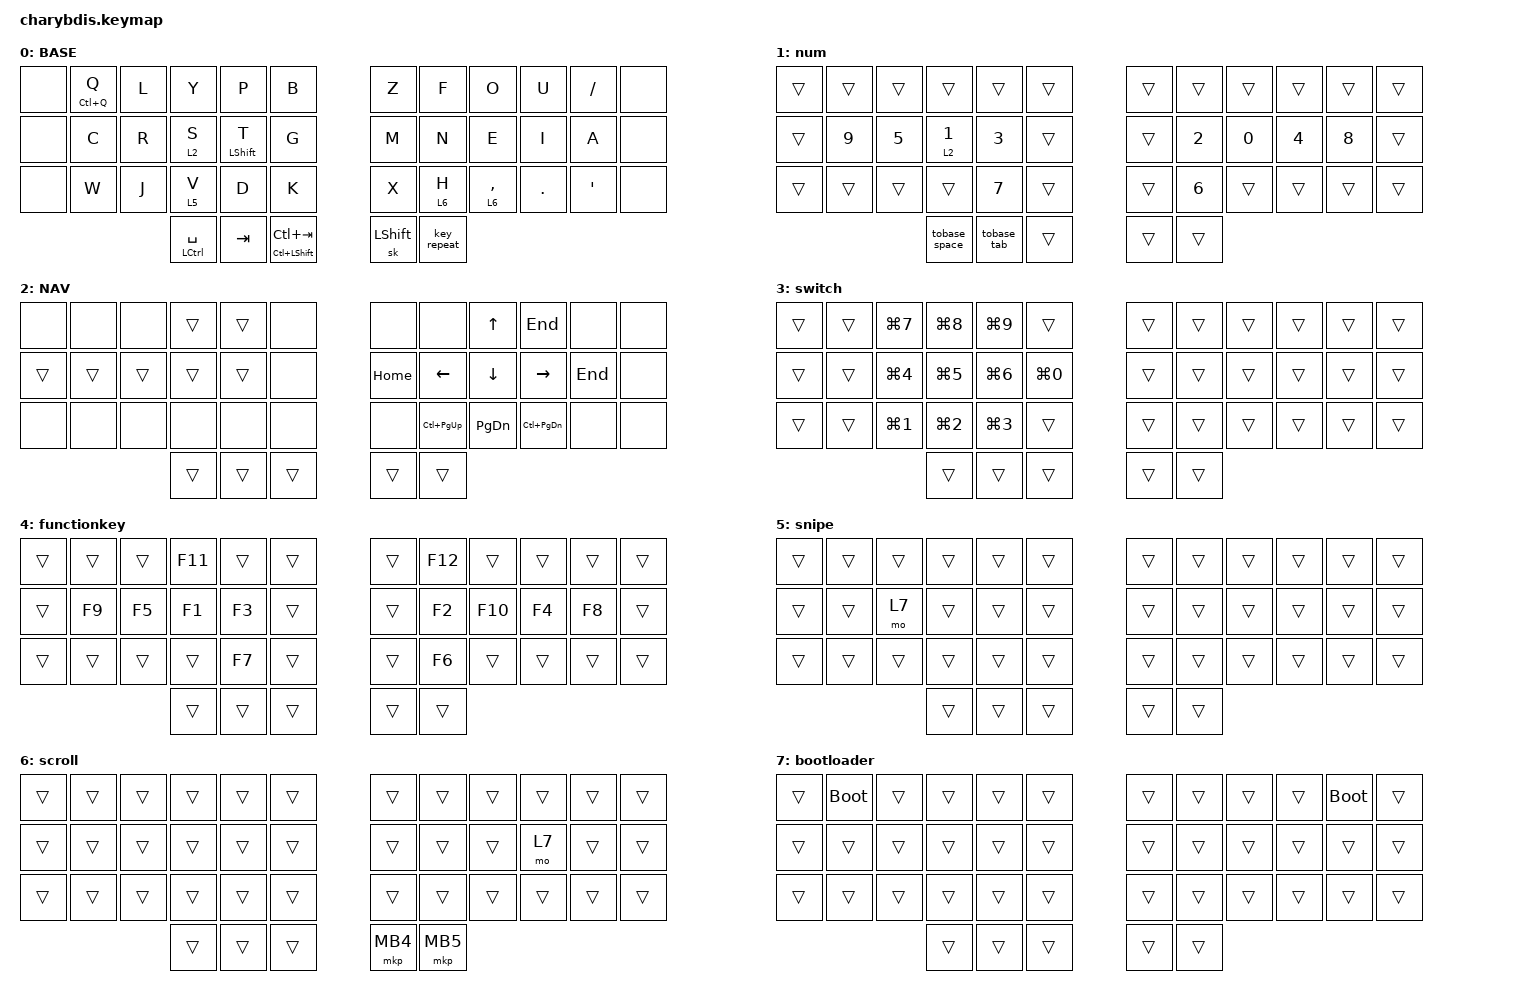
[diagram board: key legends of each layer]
#include <dt-bindings/zmk/mouse.h>
#include <behaviors/mouse_keys.dtsi>
#include <behaviors.dtsi>
#include <dt-bindings/zmk/bt.h>
#include <dt-bindings/zmk/keys.h>
#include <dt-bindings/zmk/pointing.h>

&sk { quick-release; };

&lt {
    require-prior-idle-ms = <150>;
    tapping-term-ms = <280>;
    quick-tap-ms = <175>;
    hold-trigger-on-release;
    flavor = "balanced";
};

&mt {
    flavor = "balanced";
    require-prior-idle-ms = <175>;
    tapping-term-ms = <280>;
    quick-tap-ms = <180>;
    hold-trigger-on-release;
};

/ {
    /* input config for mouse move mode */
    // Define the base listener for the trackball device

    trackball_listener: trackball_listener {
        compatible = "zmk,input-listener";
        device = <&vtrackball>;

        // --- STANDARD MOVEMENT MODE (Layer 0, 7) ---
        // Scaling: 4/5 (0.8x speed)

        trackball_default_scaling: trackball_default_scaling {
            input-processors = <&zip_xy_scaler 4 5>;
            layers = <0 7>;
        };

        // --- SNIPE MODE (Layer 5) ---
        // Scaling: 1/6 (Very slow, 0.166x speed)

        trackball_snipe_scaling: trackball_snipe_scaling {
            input-processors = <&zip_xy_scaler 1 6>;
            layers = <5>;
        };

        // --- SCROLL MODE (Layer 2, 6) ---
        // Changes input codes to scroll, inverts Y, and scales scroll speed.

        trackball_scroll_mode: trackball_scroll_mode {
            // ZMK input-listener handles changing the X/Y codes implicitly for scroll
            // Y-axis will be inverted (for natural scrolling)

            y-invert;
            layers = <2 6>;

            // The bindings property moves here. It applies the wheel scaler processor
            // for this layer block, using a 1/14 scaling for the scroll wheel data.

            input-processors = <&zip_wheel_scaler 1 14>;
        };
    };

    // --- Input Processor Definition ---
    // Define the wheel scaler processor separately as a reusable component.

    zip_wheel_scaler: zip_wheel_scaler {
        // This processor applies custom scaling only to the wheel (scroll) axis data.

        compatible = "zmk,input-processor-wheel-scaler";
        #binding-cells = <2>;
    };

    /* adjust cooldown waiting period for mouse key layer after activated */

    ib_toggle_layer: ib_toggle_layer {
        compatible = "zmk,input-behavior-tog-layer";
        #binding-cells = <1>;
        time-to-live-ms = <750>;
    };

    behaviors {
        back_home: back_home {
            compatible = "zmk,behavior-hold-tap";
            bindings = <&althome>, <&altleft>;

            #binding-cells = <2>;
            flavor = "balanced";
            tapping-term-ms = <200>;
        };

        shift_repeat: shift_repeat {
            compatible = "zmk,behavior-hold-tap";
            bindings = <&kp>, <&key_repeat>;

            #binding-cells = <2>;
            tapping-term-ms = <200>;
            require-prior-idle-ms = <180>;
            flavor = "tap-unless-interrupted";
        };

        rightclick_appmenu: rightclick_appmenu {
            compatible = "zmk,behavior-hold-tap";
            bindings = <&kp>, <&mkp>;

            #binding-cells = <2>;
            flavor = "balanced";
            tapping-term-ms = <200>;
            require-prior-idle-ms = <180>;
        };

        num_num: num_num {
            compatible = "zmk,behavior-hold-tap";
            bindings = <&mo>, <&to>;

            #binding-cells = <2>;
            flavor = "balanced";
            tapping-term-ms = <180>;
        };

        caps_ctrl_shift: caps_ctrl_shift {
            compatible = "zmk,behavior-hold-tap";
            bindings = <&kp>, <&caps_word>;

            #binding-cells = <2>;
            tapping-term-ms = <200>;
            flavor = "balanced";
        };
    };

    combos {
        compatible = "zmk,combos";

        rparenth {
            bindings = <&mt RIGHT_BRACKET RIGHT_PARENTHESIS>;
            key-positions = <40 21>;
        };

        exclai {
            bindings = <&kp EXCL>;
            key-positions = <19 31>;
        };

        lparenth {
            bindings = <&mt LEFT_BRACKET LEFT_PARENTHESIS>;
            key-positions = <37 14>;
        };

        copy {
            bindings = <&kp LC(C)>;
            key-positions = <15 28>;
            require-prior-idle-ms = <180>;
        };

        paste {
            bindings = <&mt LCTRL LC(V)>;
            key-positions = <4 15>;
            require-prior-idle-ms = <180>;
        };

        semicolon {
            bindings = <&kp SEMICOLON>;
            key-positions = <40 22>;
        };

        resetble {
            bindings = <&bt BT_CLR_ALL>;
            key-positions = <2 3 4 7 8 9>;
        };

        underscore {
            bindings = <&kp MINUS>;
            key-positions = <31 33>;
        };

        minus {
            bindings = <&kp UNDER>;
            key-positions = <31 34>;
        };

        stickyalt {
            bindings = <&sk LEFT_ALT>;
            key-positions = <14 16 15>;
        };

        colonn {
            bindings = <&kp COLON>;
            key-positions = <40 19>;
        };

        equal {
            bindings = <&kp EQUAL>;
            key-positions = <40 31>;
        };

        value {
            bindings = <&value>;
            key-positions = <9 21>;
        };

        statementcombo {
            bindings = <&statement>;
            key-positions = <40 9>;
        };

        enterr {
            bindings = <&kp ENTER>;
            key-positions = <31 32>;
        };

        scrolh {
            bindings = <&tog 2>;
            key-positions = <19 20 21 22>;
        };

        plus {
            bindings = <&mt ASTRK PLUS>;
            key-positions = <7 19>;
        };

        insert {
            bindings = <&kp INSERT>;
            key-positions = <2 14>;
        };

        escape {
            bindings = <&kp ESCAPE>;
            key-positions = <28 27>;
        };

        redo {
            bindings = <&kp LC(Y)>;
            key-positions = <3 2>;
        };

        undo {
            bindings = <&kp LC(Z)>;
            key-positions = <3 4>;
        };

        calc_rel {
            bindings = <&mt LC(R) LC(D)>;
            key-positions = <14 3>;
            require-prior-idle-ms = <180>;
        };

        focus {
            bindings = <&kp LC(E)>;
            key-positions = <16 3>;
        };

        at {
            bindings = <&mt HASH AT>;
            key-positions = <32 21>;
        };

        window {
            bindings = <&sk LEFT_GUI>;
            key-positions = <26 27 28>;
        };

        bluetoothone {
            bindings = <&bt BT_SEL 0>;
            key-positions = <1 13>;
        };

        bluetoothtwo {
            bindings = <&bt BT_SEL 1>;
            key-positions = <10 22>;
        };

        types {
            bindings = <&altzero>;
            key-positions = <3 15>;
        };

        printscreen {
            bindings = <&kp LG(LS(S))>;
            key-positions = <7 19 8 20>;
        };

        grave {
            bindings = <&kp GRAVE>;
            key-positions = <18 6>;
        };

        question {
            bindings = <&kp QUESTION>;
            key-positions = <20 33>;
        };

        bspace {
            bindings = <&kp BACKSPACE>;
            key-positions = <32 20>;
        };

        altlefthome {
            bindings = <&back_home 0 0>;
            key-positions = <16 28>;
        };

        doublequote {
            bindings = <&kp DOUBLE_QUOTES>;
            key-positions = <21 33>;
        };

        backslash {
            bindings = <&kp BACKSLASH>;
            key-positions = <22 34>;
        };

        selectall {
            bindings = <&kp LC(A)>;
            key-positions = <31 32 33>;
        };

        newmacron {
            bindings = <&new_macro>;
            key-positions = <20 21 33 32>;
        };

        sloganize {
            bindings = <&slogan>;
            key-positions = <16 28 27 15>;
        };

        academy {
            bindings = <&repand>;
            key-positions = <15 14 26 27>;
        };

        cut {
            bindings = <&kp LC(X)>;
            key-positions = <16 13>;
        };

        altdown {
            bindings = <&kp LA(DOWN)>;
            key-positions = <4 16>;
        };

        rightclickr {
            bindings = <&rightclick_appmenu K_CONTEXT_MENU RCLK>;
            key-positions = <15 16>;
        };

        delete {
            bindings = <&kp DELETE>;
            key-positions = <17 29>;
        };

        switchwinright {
            bindings = <&switchwin>;
            key-positions = <40 19 20>;
        };

        nummo {
            bindings = <&sl 4>;
            key-positions = <40 37>;
        };

        ctrlf4 {
            bindings = <&kp LC(F4)>;
            key-positions = <2 3 4>;
        };

        eruntsc {
            bindings = <&e2eruntsc>;
            key-positions = <37 29>;
        };

        erunchrome {
            bindings = <&e2erunchrome>;
            key-positions = <40 30>;
        };

        format {
            bindings = <&kp LS(LA(F))>;
            key-positions = <28 27 31 32>;
        };

        backcomb {
            bindings = <&mkp MB4>;
            key-positions = <40 32>;
        };

        forwardcomb {
            bindings = <&mkp MB5>;
            key-positions = <40 33>;
        };

        leptclick {
            bindings = <&mkp LCLK>;
            key-positions = <15 14>;
        };

        altone2 {
            bindings = <&altone>;
            key-positions = <15 27>;
        };

        ctrlclick {
            bindings = <&ctrl_click>;
            key-positions = <26 27>;
        };

        tobase {
            bindings = <&to 0>;
            key-positions = <20 21>;
        };

        ctrlbacspac {
            bindings = <&kp LC(BACKSPACE)>;
            key-positions = <19 20 21>;
        };

        rightclickl {
            bindings = <&mkp LCLK>;
            key-positions = <32 33>;
        };

        altup {
            bindings = <&kp LA(UP_ARROW)>;
            key-positions = <5 17>;
        };

        curlyleft {
            bindings = <&kp LS(LEFT_BRACKET)>;
            key-positions = <14 15 37>;
        };

        curlyright {
            bindings = <&kp LS(RIGHT_BRACKET)>;
            key-positions = <20 21 40>;
        };

        clearformat {
            bindings = <&formatctrlspace>;
            key-positions = <28 14>;
        };

        controltab {
            bindings = <&kp LC(TAB)>;
            key-positions = <18 19>;
        };

        controlshifttab {
            bindings = <&kp LC(LS(TAB))>;
            key-positions = <16 17>;
        };

        ups {
            bindings = <&kp UP_ARROW>;
            key-positions = <6 7>;
        };

        downs {
            bindings = <&kp DOWN>;
            key-positions = <30 31>;
        };

        ctrlspace {
            bindings = <&kp LC(SPACE)>;
            key-positions = <36 37>;
        };

        tonumber {
            bindings = <&to 1>;
            key-positions = <15 20>;
        };
    };

    macros {
        switchwin: switchwin {
            compatible = "zmk,behavior-macro";
            #binding-cells = <0>;
            bindings =
                <&macro_press>,
                <&mo 3 &kp LGUI>,
                <&macro_pause_for_release>,
                <&macro_release>,
                <&mo 3 &kp LEFT_WIN>;

            label = "SWITCHWIN";
        };

        info: info {
            compatible = "zmk,behavior-macro";
            #binding-cells = <0>;
            bindings = <&kp I &kp N &kp F &kp O &kp LPAR &kp SQT &kp FSLH &kp FSLH &kp SQT &kp RPAR &kp LEFT>;
            label = "INFO";
        };

        statement: statement {
            compatible = "zmk,behavior-macro";
            #binding-cells = <0>;
            bindings = <&kp RET &kp LEFT_BRACE &kp RET &kp RBRC &kp UP_ARROW &kp ENTER>;
            label = "STATEMENT";
        };

        value: value {
            compatible = "zmk,behavior-macro";
            #binding-cells = <0>;
            bindings = <&kp LS(V) &kp LS(A) &kp LS(L) &kp LS(U) &kp LS(E) &kp LPAR &kp O &kp B &kp J &kp E &kp C &kp T>;
            label = "VALUE";
        };

        slogan: slogan {
            compatible = "zmk,behavior-macro";
            #binding-cells = <0>;
            bindings = <&kp LS(T) &kp R &kp A &kp C &kp K &kp B &kp A &kp L &kp L &kp LS(G) &kp L &kp O &kp V &kp E &kp N3 &kp N5 &kp LS(E) &kp N &kp D &kp LS(G) &kp A &kp M &kp E>;
            label = "SLOGAN";
        };

        repand: repand {
            compatible = "zmk,behavior-macro";
            #binding-cells = <0>;
            bindings = <&kp LS(S) &kp Y &kp N &kp C &kp H &kp R &kp O &kp N &kp I &kp Z &kp E &kp U &kp P &kp G &kp R &kp A &kp D &kp E &kp A &kp B &kp I &kp L &kp I &kp T &kp Y &kp DLLR &kp PRCNT &kp CARET &kp PLUS>;
            label = "REPAND";
        };

        altone: altone {
            compatible = "zmk,behavior-macro";
            #binding-cells = <0>;
            bindings = <&sk LEFT_ALT &kp NUMBER_1>;
            label = "ALTONE";
        };

        altzero: altzero {
            compatible = "zmk,behavior-macro";
            #binding-cells = <0>;
            bindings = <&sk LEFT_ALT &kp NUMBER_0>;
            label = "ALTZERO";
        };

        alta: alta {
            compatible = "zmk,behavior-macro";
            #binding-cells = <0>;
            bindings = <&sk LEFT_ALT &kp A>;
            label = "ALTA";
        };

        alttwo: alttwo {
            compatible = "zmk,behavior-macro";
            #binding-cells = <0>;
            bindings = <&sk LEFT_ALT &kp NUMBER_2>;
            label = "ALTTWO";
        };

        altup: altup {
            compatible = "zmk,behavior-macro";
            #binding-cells = <0>;
            bindings = <&sk LEFT_ALT &kp UP_ARROW>;
            label = "ALTUP";
        };

        altdown: altdown {
            compatible = "zmk,behavior-macro";
            #binding-cells = <0>;
            bindings = <&sk LEFT_ALT &kp DOWN>;
            label = "ALTDOWN";
        };

        althome: althome {
            compatible = "zmk,behavior-macro";
            #binding-cells = <0>;
            bindings = <&sk LEFT_ALT &kp HOME>;
            label = "ALTHOME";
        };

        altleft: altleft {
            compatible = "zmk,behavior-macro";
            #binding-cells = <0>;
            bindings = <&sk LEFT_ALT &kp LEFT>;
            label = "ALTLEFT";
        };

        ctrlback: ctrlback {
            compatible = "zmk,behavior-macro";
            #binding-cells = <0>;
            bindings = <&sk LCTRL &kp BACKSPACE>;
            label = "CTRLBACK";
        };

        e2eruntsc: e2erun {
            compatible = "zmk,behavior-macro";
            #binding-cells = <0>;
            bindings = <&kp E &kp N2 &kp E &kp SPACE &kp R &kp U &kp N &kp SPACE &kp T &kp S &kp C>;
            label = "E2ERUN";
        };

        e2erunchrome: e2erunchrome {
            compatible = "zmk,behavior-macro";
            #binding-cells = <0>;
            bindings = <&none &kp E &kp N2 &kp E &kp SPACE &kp R &kp U &kp N &kp SPACE &kp C &kp H &kp R &kp O &kp M &kp E>;
            label = "E2ERUNCHROME";
        };

        ctrl_click: ctrl_click {
            compatible = "zmk,behavior-macro";
            #binding-cells = <0>;
            bindings =
                <&macro_press>,
                <&kp LCTRL>,
                <&macro_tap>,
                <&mkp LCLK>,
                <&macro_release>,
                <&kp LCTRL>;

            label = "CTRL_CLICK";
        };

        tobase_space: tobase_space {
            compatible = "zmk,behavior-macro";
            #binding-cells = <0>;
            bindings = <&to 0 &kp SPACE>;
            label = "TOBASE_SPACE";
        };

        tobase_tab: tobase_tab {
            compatible = "zmk,behavior-macro";
            #binding-cells = <0>;
            bindings = <&to 0 &kp TAB>;
            label = "TOBASE_TAB";
        };

        formatctrlspace: formatctrlspace {
            compatible = "zmk,behavior-macro";
            #binding-cells = <0>;
            bindings = <&sk LCTRL &kp SPACE>;
            label = "FORMATCTRLSPACE";
        };

        new_macro: new_macro {
            compatible = "zmk,behavior-macro";
            #binding-cells = <0>;
            bindings = <&kp LS(C) &kp K &kp LS(F) &kp LS(A) &kp H &kp LS(W) &kp LS(M) &kp R &kp LS(J) &kp U &kp K &kp N &kp LS(Z) &kp Y &kp N3 &kp G &kp LS(N) &kp Q &kp LS(S) &kp H &kp N4 &kp LS(P) &kp LS(U) &kp LS(K) &kp LS(Q) &kp LS(C) &kp LS(A) &kp LS(A) &kp N9 &kp B &kp LS(C) &kp W &kp LS(A) &kp LS(H) &kp LS(S) &kp LS(N) &kp H &kp N7 &kp LS(R) &kp LS(Y) &kp V &kp LS(U) &kp LS(T) &kp LS(N) &kp LS(S) &kp N2 &kp W &kp G &kp LS(A) &kp C &kp LS(L) &kp F &kp LS(J) &kp LS(Q) &kp LS(Q) &kp LS(J) &kp N9 &kp N9 &kp LS(B) &kp LS(K) &kp LS(A) &kp LS(C) &kp LS(A) &kp LS(A) &kp LS(A) &kp LS(A) &kp LS(A) &kp LS(I) &kp LS(A) &kp LS(Y) &kp N &kp LS(K) &kp LS(A) &kp LS(A) &kp LS(A) &kp LS(S) &kp LS(A) &kp LS(Z) &kp LS(D) &kp LS(O) &kp N3 &kp LS(Z) &kp LS(R) &kp O>;
            label = "NEW_MACRO";
        };
    };

    // ╭──────┬──────┬──────┬──────┬──────┬──────╮  ╭──────┬──────┬──────┬──────┬──────┬──────╮
    //    00     01     02     03    04      05        06     07     08     09     10     11
    // ├──────┼──────┼──────┼──────┼──────┼──────┤  ├──────┼──────┼──────┼──────┼──────┼──────┤
    //    12     13     14     15    16      17        18     19     20     21     22     23
    // ├──────┼──────┼──────┼──────┼──────┼──────┤  ├──────┼──────┼──────┼──────┼──────┼──────┤
    //    24     25     26     27    28      29        30     31     32     33     34     35
    // ╰──────┴──────┴──────┼──────┼──────┼──────┤  ├──────┼──────┼──────┴──────┴──────┴──────╯
    //                         36     37     38        39     40
    //                      ╰──────┴──────┴──────╯  ╰──────┴──────╯

    keymap {
        compatible = "zmk,keymap";

        BASE {
            bindings = <
&none  &mt LC(Q) Q  &kp L  &kp Y            &kp P         &kp B                         &kp Z           &kp F        &kp O        &kp U       &kp SLASH  &none
&none  &kp C        &kp R  &lt 2 S          &mt LSHIFT T  &kp G                         &kp M           &kp N        &kp E        &kp I       &kp A      &none
&none  &kp W        &kp J  &lt 5 V          &kp D         &kp K                         &kp X           &lt 6 H      &lt 6 COMMA  &kp PERIOD  &kp APOS   &none
                           &mt LCTRL SPACE  &kp TAB       &mt LC(LEFT_SHIFT) LC(TAB)    &sk LEFT_SHIFT  &key_repeat
            >;
        };

        num {
            bindings = <
&trans  &trans  &trans  &trans          &trans        &trans    &trans  &trans        &trans  &trans        &trans  &trans
&trans  &kp N9  &kp N5  &lt 2 NUMBER_1  &kp NUMBER_3  &trans    &trans  &kp NUMBER_2  &kp N0  &kp NUMBER_4  &kp N8  &trans
&trans  &trans  &trans  &trans          &kp N7        &trans    &trans  &kp NUMBER_6  &trans  &trans        &trans  &trans
                        &tobase_space   &tobase_tab   &trans    &trans  &trans
            >;
        };

        NAV {
            bindings = <
&none   &none   &none   &trans  &trans  &none     &none     &none            &kp UP_ARROW   &kp END            &none    &none
&trans  &trans  &trans  &trans  &trans  &none     &kp HOME  &kp LEFT_ARROW   &kp DOWN       &kp RIGHT          &kp END  &none
&none   &none   &none   &none   &none   &none     &none     &kp LC(PAGE_UP)  &kp PAGE_DOWN  &kp LC(PAGE_DOWN)  &none    &none
                        &trans  &trans  &trans    &trans    &trans
            >;
        };

        switch {
            bindings = <
&trans  &trans  &kp LG(N7)        &kp LG(N8)        &kp LG(N9)        &trans        &trans  &trans  &trans  &trans  &trans  &trans
&trans  &trans  &kp LG(NUMBER_4)  &kp LG(N5)        &kp LG(NUMBER_6)  &kp LG(N0)    &trans  &trans  &trans  &trans  &trans  &trans
&trans  &trans  &kp LG(NUMBER_1)  &kp LG(NUMBER_2)  &kp LG(NUMBER_3)  &trans        &trans  &trans  &trans  &trans  &trans  &trans
                                  &trans            &trans            &trans        &trans  &trans
            >;
        };

        functionkey {
            bindings = <
&trans  &trans  &trans  &kp F11  &trans  &trans    &trans  &kp F12  &trans   &trans  &trans  &trans
&trans  &kp F9  &kp F5  &kp F1   &kp F3  &trans    &trans  &kp F2   &kp F10  &kp F4  &kp F8  &trans
&trans  &trans  &trans  &trans   &kp F7  &trans    &trans  &kp F6   &trans   &trans  &trans  &trans
                        &trans   &trans  &trans    &trans  &trans
            >;
        };

        snipe {
            bindings = <
&trans  &trans  &trans  &trans  &trans  &trans    &trans  &trans  &trans  &trans  &trans  &trans
&trans  &trans  &mo 7   &trans  &trans  &trans    &trans  &trans  &trans  &trans  &trans  &trans
&trans  &trans  &trans  &trans  &trans  &trans    &trans  &trans  &trans  &trans  &trans  &trans
                        &trans  &trans  &trans    &trans  &trans
            >;
        };

        scroll {
            bindings = <
&trans  &trans  &trans  &trans  &trans  &trans    &trans    &trans    &trans  &trans  &trans  &trans
&trans  &trans  &trans  &trans  &trans  &trans    &trans    &trans    &trans  &mo 7   &trans  &trans
&trans  &trans  &trans  &trans  &trans  &trans    &trans    &trans    &trans  &trans  &trans  &trans
                        &trans  &trans  &trans    &mkp MB4  &mkp MB5
            >;
        };

        bootloader {
            bindings = <
&trans  &bootloader  &trans  &trans  &trans  &trans    &trans  &trans  &trans  &trans  &bootloader  &trans
&trans  &trans       &trans  &trans  &trans  &trans    &trans  &trans  &trans  &trans  &trans       &trans
&trans  &trans       &trans  &trans  &trans  &trans    &trans  &trans  &trans  &trans  &trans       &trans
                             &trans  &trans  &trans    &trans  &trans
            >;
        };
    };
};
